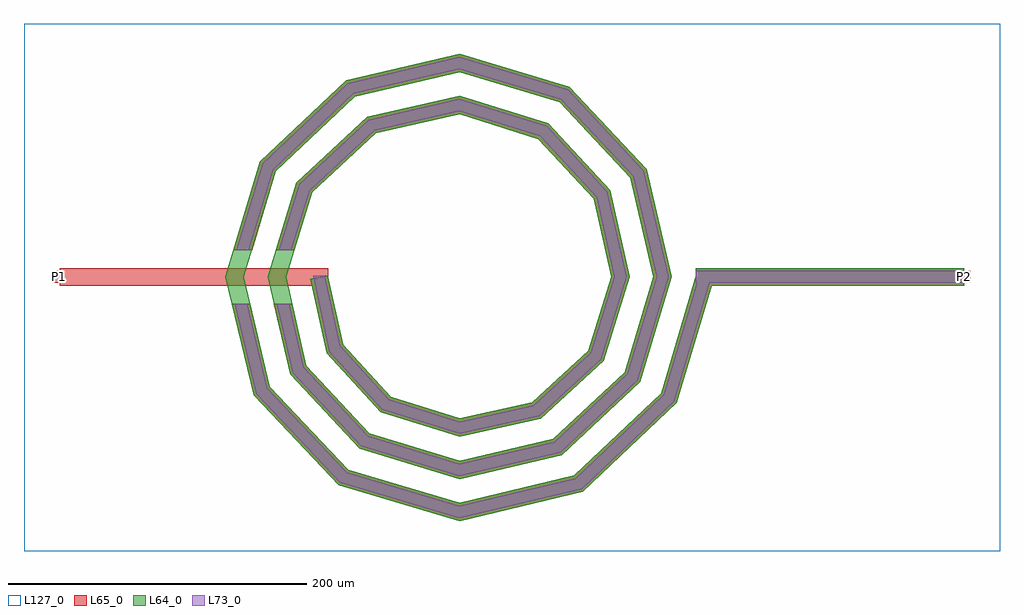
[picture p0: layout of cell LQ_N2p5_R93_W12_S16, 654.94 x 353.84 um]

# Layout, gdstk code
import gdstk
lib = gdstk.Library(unit=1e-6, precision=1e-09)
def R(c, l, rs):  # rectangles x0, y0, x1, y1
    for r in rs: c.add(gdstk.rectangle(r[:2], r[2:], *l))
def P(c, l, *ps):  # polygons
    for p in ps: c.add(gdstk.Polygon(p, *l))
L64_0 = (64, 0)
L65_0 = (65, 0)
L73_0 = (73, 0)
L127_0 = (127, 0)

lq_n2p5_r93_w12_s16 = lib.new_cell('LQ_N2p5_R93_W12_S16')
R(lq_n2p5_r93_w12_s16, L64_0, [(158.871,-6,338.871,6)])
P(lq_n2p5_r93_w12_s16, L64_0, [(-77.992,-45.356),(-46.051,-80.316),(0.27,-94.941),(48.879,-84.133),(86.438,-49.607),(102.021,0.253),(90.273,52.404),(53.161,92.561),(0.237,109.101),(-55.932,96.412),(-98.685,56.713),(-116.181,0.223),(-102.55,-59.46),(-60.264,-104.811),(0.211,-123.261),(62.99,-108.687),(110.936,-63.814),(130.341,0.2),(114.824,66.521),(67.363,117.063),(0.19,137.421),(-70.053,120.96),(-123.19,70.911),(-144.501,0.181),(-127.096,-73.585),(-74.458,-129.317),(0.173,-151.581),(77.118,-133.232),(135.445,-78.005),(159.119,1.708),(170.623,-1.708),(146.032,-84.506),(83.032,-144.158),(0.173,-164),(-80.972,-139.896),(-138.03,-79.485),(-156.92,0.181),(-133.76,77.439),(-75.937,131.902),(0.19,149.839),(73.907,127.624),(125.775,72.389),(142.758,0.2),(121.487,-70.376),(68.839,-119.648),(0.211,-135.678),(-66.845,-115.349),(-113.522,-65.289),(-128.597,0.223),(-109.21,63.316),(-61.737,107.396),(0.237,121.516),(59.788,103.071),(101.272,58.184),(114.435,0.253),(96.931,-56.261),(54.629,-95.148),(0.27,-107.354),(-52.737,-90.789),(-89.025,-51.071),(-99.929,-1.284),(-88.206,1.284)])
R(lq_n2p5_r93_w12_s16, L65_0, [(-268.068,-6,-88.068,6), (158.871,-6,338.871,6), (-272.068,-4,-264.068,4), (334.871,-4,342.871,4)])
P(lq_n2p5_r93_w12_s16, L65_0, [(-127.096,-73.585),(-74.458,-129.317),(0.173,-151.581),(77.118,-133.232),(135.445,-78.005),(159.119,1.708),(170.623,-1.708),(146.032,-84.506),(83.032,-144.158),(0.173,-164),(-80.972,-139.896),(-138.03,-79.485),(-152.609,-18),(-140.276,-18)],
  [(-102.55,-59.46),(-60.264,-104.811),(0.211,-123.261),(62.99,-108.687),(110.936,-63.814),(130.341,0.2),(114.824,66.521),(67.363,117.063),(0.19,137.421),(-70.053,120.96),(-123.19,70.911),(-139.051,18),(-151.578,18),(-133.76,77.439),(-75.937,131.902),(0.19,149.839),(73.907,127.624),(125.775,72.389),(142.758,0.2),(121.487,-70.376),(68.839,-119.648),(0.211,-135.678),(-66.845,-115.349),(-113.522,-65.289),(-124.404,-18),(-112.09,-18)],
  [(-46.051,-80.316),(0.27,-94.941),(48.879,-84.133),(86.438,-49.607),(102.021,0.253),(90.273,52.405),(53.161,92.561),(0.237,109.101),(-55.932,96.412),(-98.686,56.713),(-110.581,18),(-123.135,18),(-109.21,63.316),(-61.737,107.396),(0.237,121.516),(59.788,103.071),(101.272,58.184),(114.435,0.253),(96.931,-56.261),(54.629,-95.148),(0.27,-107.354),(-52.737,-90.789),(-89.025,-51.071),(-99.929,-1.284),(-88.206,1.284),(-77.992,-45.356)])
R(lq_n2p5_r93_w12_s16, L73_0, [(158.871,-4,338.871,4)])
P(lq_n2p5_r93_w12_s16, L73_0, [(-128.918,-74.569),(-75.544,-131.08),(0.116,-153.651),(78.104,-135.053),(137.209,-79.088),(161.037,1.139),(168.705,-1.139),(144.268,-83.423),(82.047,-142.337),(0.116,-161.93),(-79.887,-138.133),(-136.207,-78.502),(-150.553,-18),(-142.331,-18)],
  [(-104.378,-60.432),(-61.361,-106.567),(0.141,-125.33),(63.965,-110.514),(112.695,-64.908),(132.41,0.134),(116.649,67.499),(68.453,118.823),(0.127,139.491),(-71.033,122.784),(-124.952,71.999),(-141.139,18),(-149.49,18),(-131.999,76.351),(-74.957,130.078),(0.127,147.769),(72.816,125.864),(123.95,71.411),(140.689,0.134),(119.728,-69.282),(67.865,-117.821),(0.141,-133.608),(-65.748,-113.593),(-111.693,-64.317),(-122.351,-18),(-114.142,-18)],
  [(-47.165,-82.062),(0.18,-97.01),(49.838,-85.969),(88.187,-50.716),(104.09,0.168),(92.106,53.368),(54.265,94.313),(0.158,111.17),(-56.899,98.242),(-100.44,57.814),(-112.673,18),(-121.043,18),(-107.456,62.215),(-60.77,105.566),(0.158,119.447),(58.683,101.32),(99.439,57.221),(112.366,0.168),(95.182,-55.152),(53.67,-93.312),(0.18,-105.286),(-51.622,-89.044),(-87.186,-50.119),(-97.975,0.856),(-90.16,0.856),(-79.831,-46.309)])
R(lq_n2p5_r93_w12_s16, L127_0, [(-292.068,-184,362.871,169.839)])
lq_n2p5_r93_w12_s16.add(gdstk.Label('P2', (338.871,0), layer=65, texttype=0))
lq_n2p5_r93_w12_s16.add(gdstk.Label('P1', (-268.068,0), layer=65, texttype=0))
lq_n2p5_r93_w12_s16.add(gdstk.Label('P2', (342.871,0), layer=145, texttype=0))
lq_n2p5_r93_w12_s16.add(gdstk.Label('P1', (-272.068,0), layer=145, texttype=0))

lib.write_gds('LQ_N2p5_R93_W12_S16.gds')
